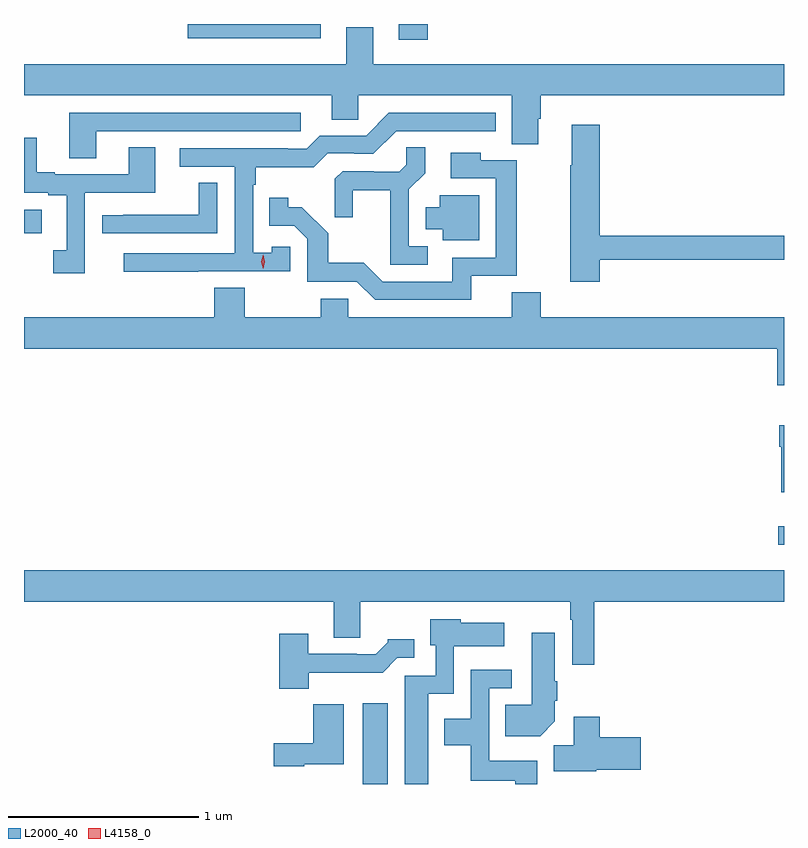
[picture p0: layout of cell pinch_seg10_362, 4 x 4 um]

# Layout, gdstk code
import gdstk
lib = gdstk.Library(unit=1e-6, precision=1e-09)
def R(c, l, rs):  # rectangles x0, y0, x1, y1
    for r in rs: c.add(gdstk.rectangle(r[:2], r[2:], *l))
def P(c, l, *ps):  # polygons
    for p in ps: c.add(gdstk.Polygon(p, *l))
L2000_40 = (2000, 40)
L4158_0 = (4158, 0)

pinch_seg10_362 = lib.new_cell('pinch_seg10_362')
R(pinch_seg10_362, L2000_40, [(551.42,1256.732,551.551,1257.157), (553.605,1257.992,553.636,1258.089), (549.636,1259.631,549.73,1259.755), (551.609,1260.648,551.762,1260.732), (550.497,1260.656,551.197,1260.732)])
P(pinch_seg10_362, L2000_40, [(552.343,1260.234),(552.356,1260.234),(552.356,1260.356),(553.636,1260.356),(553.636,1260.52),(551.473,1260.52),(551.473,1260.715),(551.333,1260.715),(551.333,1260.52),(549.636,1260.52),(549.636,1260.356),(551.255,1260.356),(551.255,1260.229),(551.394,1260.229),(551.394,1260.356),(552.203,1260.356),(552.203,1260.1),(552.343,1260.1)],
  [(550.553,1259.43),(551.037,1259.43),(551.037,1259.559),(550.941,1259.559),(550.941,1259.527),(550.842,1259.527),(550.842,1259.885),(550.855,1259.885),(550.855,1259.978),(551.162,1259.978),(551.235,1260.051),(551.374,1260.051),(551.374,1260.048),(551.475,1260.048),(551.595,1260.168),(552.118,1260.168),(552.118,1260.264),(551.556,1260.264),(551.436,1260.144),(551.193,1260.144),(551.124,1260.075),(551.024,1260.075),(551.024,1260.078),(550.455,1260.078),(550.455,1259.982),(550.746,1259.982),(550.746,1259.526),(550.161,1259.526),(550.161,1259.428),(550.553,1259.428)],
  [(550.015,1260.168),(551.092,1260.168),(551.092,1260.264),(549.875,1260.264),(549.875,1260.025),(550.015,1260.025)],
  [(552.665,1259.49),(553.636,1259.49),(553.636,1259.618),(552.665,1259.618),(552.665,1260.202),(552.518,1260.202),(552.518,1259.989),(552.511,1259.989),(552.511,1259.376),(552.665,1259.376)],
  [(549.957,1259.844),(550.327,1259.844),(550.327,1260.083),(550.187,1260.083),(550.187,1259.94),(549.799,1259.94),(549.799,1259.953),(549.703,1259.953),(549.703,1260.133),(549.636,1260.133),(549.636,1259.844),(549.764,1259.844),(549.764,1259.832),(549.86,1259.832),(549.86,1259.541),(549.789,1259.541),(549.789,1259.421),(549.957,1259.421)],
  [(551.761,1259.562),(551.661,1259.562),(551.661,1259.861),(551.747,1259.947),(551.747,1260.083),(551.649,1260.083),(551.649,1259.992),(551.612,1259.955),(551.478,1259.955),(551.478,1259.958),(551.313,1259.958),(551.272,1259.917),(551.272,1259.715),(551.366,1259.715),(551.366,1259.858),(551.564,1259.858),(551.564,1259.466),(551.761,1259.466)],
  [(551.99,1259.406),(552.229,1259.406),(552.229,1260.015),(552.039,1260.015),(552.039,1260.055),(551.883,1260.055),(551.883,1259.919),(552.12,1259.919),(552.12,1259.502),(551.891,1259.502),(551.891,1259.376),(551.523,1259.376),(551.425,1259.475),(551.236,1259.475),(551.236,1259.63),(551.098,1259.768),(551.028,1259.768),(551.028,1259.818),(550.927,1259.818),(550.927,1259.67),(551.058,1259.67),(551.127,1259.601),(551.127,1259.376),(551.388,1259.376),(551.484,1259.28),(551.99,1259.28)],
  [(550.653,1259.897),(550.555,1259.897),(550.555,1259.727),(550.159,1259.727),(550.159,1259.726),(550.047,1259.726),(550.047,1259.631),(550.653,1259.631)],
  [(552.031,1259.83),(551.825,1259.83),(551.825,1259.767),(551.75,1259.767),(551.75,1259.651),(551.84,1259.651),(551.84,1259.594),(552.031,1259.594)],
  [(553.601,1258.83),(553.636,1258.83),(553.636,1259.188),(552.356,1259.188),(552.356,1259.321),(552.203,1259.321),(552.203,1259.188),(551.343,1259.188),(551.343,1259.286),(551.197,1259.286),(551.197,1259.188),(550.797,1259.188),(550.797,1259.345),(550.637,1259.345),(550.637,1259.188),(549.636,1259.188),(549.636,1259.024),(553.601,1259.024)],
  [(553.636,1258.621),(553.61,1258.621),(553.61,1258.508),(553.622,1258.508),(553.622,1258.268),(553.636,1258.268)],
  [(552.638,1257.692),(553.636,1257.692),(553.636,1257.856),(549.636,1257.856),(549.636,1257.692),(551.267,1257.692),(551.267,1257.502),(551.407,1257.502),(551.407,1257.692),(552.51,1257.692),(552.51,1257.596),(552.522,1257.596),(552.522,1257.36),(552.638,1257.36)],
  [(551.764,1257.206),(551.898,1257.206),(551.898,1257.458),(552.163,1257.458),(552.163,1257.58),(551.934,1257.58),(551.934,1257.598),(551.774,1257.598),(551.774,1257.462),(551.802,1257.462),(551.802,1257.303),(551.639,1257.303),(551.639,1256.732),(551.764,1256.732)],
  [(552.43,1257.062),(552.43,1257.169),(552.443,1257.169),(552.443,1257.272),(552.43,1257.272),(552.43,1257.529),(552.308,1257.529),(552.308,1257.148),(552.169,1257.148),(552.169,1256.984),(552.352,1256.984)],
  [(551.134,1257.318),(551.523,1257.318),(551.601,1257.396),(551.689,1257.396),(551.689,1257.493),(551.55,1257.493),(551.55,1257.478),(551.486,1257.414),(551.387,1257.414),(551.387,1257.417),(551.131,1257.417),(551.131,1257.523),(550.979,1257.523),(550.979,1257.233),(551.134,1257.233)],
  [(552.337,1256.854),(552.084,1256.854),(552.084,1257.237),(552.202,1257.237),(552.202,1257.333),(551.988,1257.333),(551.988,1257.076),(551.849,1257.076),(551.849,1256.936),(551.986,1256.936),(551.986,1256.75),(552.221,1256.75),(552.221,1256.732),(552.337,1256.732)],
  [(551.112,1256.837),(551.32,1256.837),(551.32,1257.151),(551.158,1257.151),(551.158,1256.947),(550.95,1256.947),(550.95,1256.825),(551.112,1256.825)],
  [(552.648,1256.807),(552.883,1256.807),(552.883,1256.978),(552.665,1256.978),(552.665,1257.085),(552.53,1257.085),(552.53,1256.936),(552.425,1256.936),(552.425,1256.798),(552.648,1256.798)])
P(pinch_seg10_362, L4158_0, [(550.894,1259.445),(550.894,1259.445),(550.884,1259.481),(550.894,1259.517),(550.894,1259.517),(550.894,1259.517),(550.904,1259.481),(550.894,1259.445)])

lib.write_gds('pinch_seg10_362.gds')
